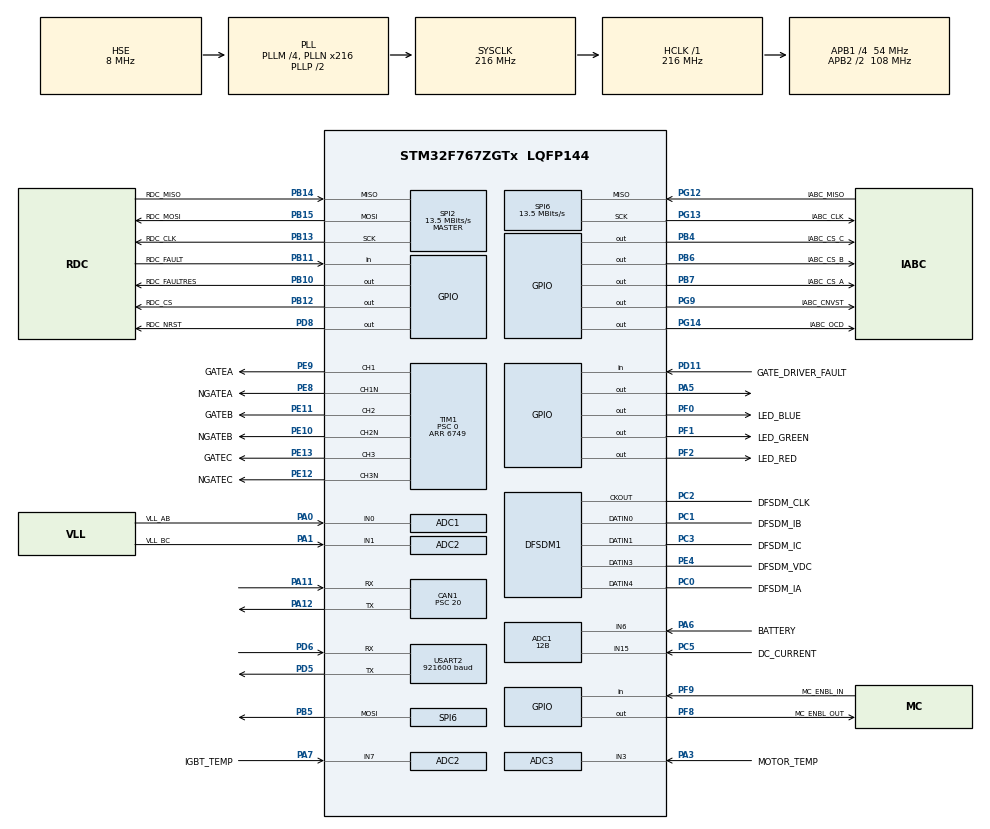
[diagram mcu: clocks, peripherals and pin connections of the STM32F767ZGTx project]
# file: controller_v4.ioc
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ADC1.Channel-5\#ChannelRegularConversion=ADC_CHANNEL_6
ADC1.ClockPrescaler=ADC_CLOCK_SYNC_PCLK_DIV6
ADC1.ContinuousConvMode=DISABLE
ADC1.DMAContinuousRequests=ENABLE
ADC1.EOCSelection=ADC_EOC_SINGLE_CONV
ADC1.InjNumberOfConversion=0
ADC1.NbrOfConversion=1
ADC1.NbrOfConversionFlag=1
ADC1.Rank-5\#ChannelRegularConversion=1
ADC1.Resolution=ADC_RESOLUTION_12B
ADC1.SamplingTime-5\#ChannelRegularConversion=ADC_SAMPLETIME_3CYCLES
ADC1.master=1
ADC2.Channel-3\#ChannelRegularConversion=ADC_CHANNEL_7
ADC2.Channel-4\#ChannelInjectedConversion=ADC_CHANNEL_15
ADC2.ClockPrescaler=ADC_CLOCK_SYNC_PCLK_DIV6
ADC2.EOCSelection=ADC_EOC_SEQ_CONV
ADC2.InjNumberOfConversion=1
ADC2.InjectedOffset-4\#ChannelInjectedConversion=0
ADC2.InjectedRank-4\#ChannelInjectedConversion=1
ADC2.NbrOfConversion=1
ADC2.NbrOfConversionFlag=1
ADC2.Rank-3\#ChannelRegularConversion=1
ADC2.SamplingTime-3\#ChannelRegularConversion=ADC_SAMPLETIME_3CYCLES
ADC2.SamplingTime-4\#ChannelInjectedConversion=ADC_SAMPLETIME_3CYCLES
ADC3.Channel-2\#ChannelRegularConversion=ADC_CHANNEL_3
ADC3.ClockPrescaler=ADC_CLOCK_SYNC_PCLK_DIV6
ADC3.NbrOfConversionFlag=1
ADC3.Rank-2\#ChannelRegularConversion=1
ADC3.SamplingTime-2\#ChannelRegularConversion=ADC_SAMPLETIME_3CYCLES
CAN1.BS1=CAN_BS1_4TQ
CAN1.BS2=CAN_BS2_2TQ
CAN1.CalculateTimeQuantum=370.3703703703704
CAN1.Prescaler=20
CAN1.SJW=CAN_SJW_1TQ
DFSDM1.Divider=10
DFSDM1.DmaMode_reg_FIL0=DISABLE
DFSDM1.DmaMode_reg_FIL1=DISABLE
DFSDM1.DmaMode_reg_FIL2=DISABLE
DFSDM1.DmaMode_reg_FIL3=DISABLE
DFSDM1.FastMode_reg_FIL0=DISABLE
DFSDM1.FastMode_reg_FIL1=DISABLE
DFSDM1.FastMode_reg_FIL2=DISABLE
DFSDM1.FastMode_reg_FIL3=DISABLE
DFSDM1.FilterOrder_CH3=DFSDM_CHANNEL_FASTSINC_ORDER
DFSDM1.Filter_injChannel0_FIL0=__NULL
DFSDM1.Filter_injChannel0_FIL1=__NULL
DFSDM1.Filter_injChannel1_FIL0=__NULL
DFSDM1.Filter_injChannel1_FIL2=__NULL
DFSDM1.Filter_injChannel3_FIL3=__NULL
DFSDM1.Filter_injChannel4_FIL0=__NULL
DFSDM1.Filter_injChannel4_FIL2=__NULL
DFSDM1.Filter_regChannel_FIL0=DFSDM_CHANNEL_4
DFSDM1.Filter_regChannel_FIL1=DFSDM_CHANNEL_0
DFSDM1.Filter_regChannel_FIL2=DFSDM_CHANNEL_1
DFSDM1.Filter_regChannel_FIL3=DFSDM_CHANNEL_3
DFSDM1.Filter_regContinuousMode_FIL0=DFSDM_CONTINUOUS_CONV_ON
DFSDM1.Filter_regContinuousMode_FIL1=DFSDM_CONTINUOUS_CONV_ON
DFSDM1.Filter_regContinuousMode_FIL2=DFSDM_CONTINUOUS_CONV_ON
DFSDM1.Filter_regContinuousMode_FIL3=DFSDM_CONTINUOUS_CONV_ON
DFSDM1.Fosr_FIL0=100
DFSDM1.Fosr_FIL1=100
DFSDM1.Fosr_FIL2=100
DFSDM1.Fosr_FIL3=100
DFSDM1.Offset_CH4=0
DFSDM1.RightBitShift_CH0=0
DFSDM1.RightBitShift_CH1=0
DFSDM1.RightBitShift_CH3=0
DFSDM1.RightBitShift_CH4=0
DFSDM1.Selection=DFSDM_CHANNEL_OUTPUT_CLOCK_SYSTEM
DFSDM1.SincOrder_FIL0=DFSDM_FILTER_SINC3_ORDER
DFSDM1.SincOrder_FIL1=DFSDM_FILTER_SINC3_ORDER
DFSDM1.SincOrder_FIL2=DFSDM_FILTER_SINC3_ORDER
DFSDM1.SincOrder_FIL3=DFSDM_FILTER_SINC3_ORDER
DFSDM1.Trigger_reg_FIL1=DFSDM_FILTER_SW_TRIGGER
DFSDM1.Trigger_reg_FIL2=DFSDM_FILTER_SW_TRIGGER
DFSDM1.Trigger_reg_FIL3=DFSDM_FILTER_SW_TRIGGER
Dma.ADC1.1.Direction=DMA_PERIPH_TO_MEMORY
Dma.ADC1.1.FIFOMode=DMA_FIFOMODE_DISABLE
Dma.ADC1.1.Instance=DMA2_Stream0
Dma.ADC1.1.MemDataAlignment=DMA_MDATAALIGN_WORD
Dma.ADC1.1.MemInc=DMA_MINC_ENABLE
Dma.ADC1.1.Mode=DMA_CIRCULAR
Dma.ADC1.1.PeriphDataAlignment=DMA_PDATAALIGN_WORD
Dma.ADC1.1.PeriphInc=DMA_PINC_DISABLE
Dma.ADC1.1.Priority=DMA_PRIORITY_LOW
Dma.ADC2.2.Direction=DMA_PERIPH_TO_MEMORY
Dma.ADC2.2.FIFOMode=DMA_FIFOMODE_DISABLE
Dma.ADC2.2.Instance=DMA2_Stream2
Dma.ADC2.2.MemDataAlignment=DMA_MDATAALIGN_WORD
Dma.ADC2.2.MemInc=DMA_MINC_ENABLE
Dma.ADC2.2.Mode=DMA_NORMAL
Dma.ADC2.2.PeriphDataAlignment=DMA_PDATAALIGN_WORD
Dma.ADC2.2.PeriphInc=DMA_PINC_DISABLE
Dma.ADC2.2.Priority=DMA_PRIORITY_LOW
Dma.Request0=USART2_TX
Dma.Request1=ADC1
Dma.Request2=ADC2
Dma.Request3=SPI2_RX
Dma.SPI2_RX.3.Direction=DMA_PERIPH_TO_MEMORY
Dma.SPI2_RX.3.FIFOMode=DMA_FIFOMODE_DISABLE
Dma.SPI2_RX.3.Instance=DMA1_Stream1
Dma.SPI2_RX.3.MemDataAlignment=DMA_MDATAALIGN_BYTE
Dma.SPI2_RX.3.MemInc=DMA_MINC_ENABLE
Dma.SPI2_RX.3.Mode=DMA_CIRCULAR
Dma.SPI2_RX.3.PeriphDataAlignment=DMA_PDATAALIGN_BYTE
Dma.SPI2_RX.3.PeriphInc=DMA_PINC_DISABLE
Dma.SPI2_RX.3.Priority=DMA_PRIORITY_LOW
Dma.USART2_TX.0.Direction=DMA_MEMORY_TO_PERIPH
Dma.USART2_TX.0.FIFOMode=DMA_FIFOMODE_DISABLE
Dma.USART2_TX.0.Instance=DMA1_Stream6
Dma.USART2_TX.0.MemDataAlignment=DMA_MDATAALIGN_BYTE
Dma.USART2_TX.0.MemInc=DMA_MINC_ENABLE
Dma.USART2_TX.0.Mode=DMA_NORMAL
Dma.USART2_TX.0.PeriphDataAlignment=DMA_PDATAALIGN_BYTE
Dma.USART2_TX.0.PeriphInc=DMA_PINC_DISABLE
Dma.USART2_TX.0.Priority=DMA_PRIORITY_LOW
IWDG.Prescaler=IWDG_PRESCALER_8
IWDG.Reload=4095
IWDG.Window=4095
Mcu.Family=STM32F7
Mcu.Name=STM32F767ZGTx
Mcu.Package=LQFP144
NVIC.CAN1_RX0_IRQn=true\:0\:0\:false\:false\:true\:true\:true
NVIC.DMA1_Stream1_IRQn=true\:0\:0\:false\:false\:true\:false\:true
NVIC.DMA1_Stream6_IRQn=true\:0\:0\:false\:false\:true\:false\:true
NVIC.DMA2_Stream0_IRQn=true\:0\:0\:false\:false\:true\:false\:true
NVIC.DMA2_Stream2_IRQn=true\:0\:0\:false\:false\:true\:false\:true
NVIC.PriorityGroup=NVIC_PRIORITYGROUP_4
NVIC.SPI2_IRQn=true\:0\:0\:false\:false\:true\:true\:true
NVIC.TIM1_CC_IRQn=true\:0\:0\:false\:false\:true\:true\:true
NVIC.TIM3_IRQn=true\:0\:0\:false\:false\:true\:true\:true
NVIC.USART2_IRQn=true\:0\:0\:false\:false\:true\:true\:true
PA0/WKUP.GPIO_Label=VLL_AB
PA0/WKUP.Signal=ADCx_IN0
PA1.GPIO_Label=VLL_BC
PA1.Signal=ADCx_IN1
PA11.GPIO_PuPd=GPIO_PULLUP
PA11.GPIO_Speed=GPIO_SPEED_FREQ_HIGH
PA11.Mode=Master
PA11.Signal=CAN1_RX
PA12.GPIO_Speed=GPIO_SPEED_FREQ_HIGH
PA12.Mode=Master
PA12.Signal=CAN1_TX
PA3.GPIO_Label=MOTOR_TEMP
PA3.Signal=ADCx_IN3
PA5.Signal=GPIO_Output
PA6.GPIO_Label=BATTERY
PA6.Signal=ADCx_IN6
PA7.GPIO_Label=IGBT_TEMP
PA7.Signal=ADCx_IN7
PB10.GPIO_Label=RDC_FAULTRES
PB10.Signal=GPIO_Output
PB11.GPIO_Label=RDC_FAULT
PB11.GPIO_PuPd=GPIO_PULLUP
PB11.Signal=GPIO_Input
PB12.GPIO_Label=RDC_CS
PB12.GPIO_PuPd=GPIO_NOPULL
PB12.GPIO_Speed=GPIO_SPEED_FREQ_HIGH
PB12.Signal=GPIO_Output
PB13.GPIO_Label=RDC_CLK
PB13.GPIO_PuPd=GPIO_PULLDOWN
PB13.Mode=Full_Duplex_Master
PB13.Signal=SPI2_SCK
PB14.GPIO_Label=RDC_MISO
PB14.GPIO_PuPd=GPIO_PULLDOWN
PB14.Mode=Full_Duplex_Master
PB14.Signal=SPI2_MISO
PB15.GPIO_Label=RDC_MOSI
PB15.GPIO_PuPd=GPIO_NOPULL
PB15.Mode=Full_Duplex_Master
PB15.Signal=SPI2_MOSI
PB4.GPIO_Label=IABC_CS_C
PB4.Signal=GPIO_Output
PB5.Mode=Full_Duplex_Master
PB5.Signal=SPI6_MOSI
PB6.GPIO_Label=IABC_CS_B
PB6.GPIO_ModeDefaultOutputPP=GPIO_MODE_OUTPUT_OD
PB6.Signal=GPIO_Output
PB7.GPIO_Label=IABC_CS_A
PB7.GPIO_ModeDefaultOutputPP=GPIO_MODE_OUTPUT_OD
PB7.Signal=GPIO_Output
PC0.GPIO_Label=DFSDM_IA
PC0.GPIO_Speed=GPIO_SPEED_FREQ_LOW
PC0.Signal=S_DATAIN4DFSDM1
PC1.GPIO_Label=DFSDM_IB
PC1.Signal=S_DATAIN0DFSDM1
PC2.GPIO_Label=DFSDM_CLK
PC2.Signal=S_CKOUTDFSDM1
PC3.GPIO_Label=DFSDM_IC
PC3.Signal=S_DATAIN1DFSDM1
PC5.GPIO_Label=DC_CURRENT
PC5.Signal=ADCx_IN15
PD11.GPIO_Label=GATE_DRIVER_FAULT
PD11.GPIO_PuPd=GPIO_PULLDOWN
PD11.Signal=GPIO_Input
PD5.Mode=Asynchronous
PD5.Signal=USART2_TX
PD6.Mode=Asynchronous
PD6.Signal=USART2_RX
PD8.GPIO_Label=RDC_NRST
PD8.GPIO_PuPd=GPIO_PULLUP
PD8.PinState=GPIO_PIN_RESET
PD8.Signal=GPIO_Output
PE10.GPIO_Label=NGATEB
PE10.GPIO_Speed=GPIO_SPEED_FREQ_HIGH
PE10.Mode=PWM Generation2 CH2 CH2N
PE10.Signal=TIM1_CH2N
PE11.GPIO_Label=GATEB
PE11.GPIO_Speed=GPIO_SPEED_FREQ_HIGH
PE11.Signal=S_TIM1_CH2
PE12.GPIO_Label=NGATEC
PE12.GPIO_Speed=GPIO_SPEED_FREQ_HIGH
PE12.Mode=PWM Generation3 CH3 CH3N
PE12.Signal=TIM1_CH3N
PE13.GPIO_Label=GATEC
PE13.GPIO_Speed=GPIO_SPEED_FREQ_HIGH
PE13.Signal=S_TIM1_CH3
PE4.GPIO_Label=DFSDM_VDC
PE4.Signal=S_DATAIN3DFSDM1
PE8.GPIO_Label=NGATEA
PE8.GPIO_PuPd=GPIO_NOPULL
PE8.GPIO_Speed=GPIO_SPEED_FREQ_HIGH
PE8.Mode=PWM Generation1 CH1 CH1N
PE8.Signal=TIM1_CH1N
PE9.GPIO_Label=GATEA
PE9.GPIO_Speed=GPIO_SPEED_FREQ_HIGH
PE9.Signal=S_TIM1_CH1
PF0.GPIO_Label=LED_BLUE
PF0.Signal=GPIO_Output
PF1.GPIO_Label=LED_GREEN
PF1.Signal=GPIO_Output
PF2.GPIO_Label=LED_RED
PF2.Signal=GPIO_Output
PF8.GPIO_Label=MC_ENBL_OUT
PF8.Signal=GPIO_Output
PF9.GPIO_Label=MC_ENBL_IN
PF9.GPIO_PuPd=GPIO_PULLDOWN
PF9.Signal=GPIO_Input
PG12.GPIO_Label=IABC_MISO
PG12.GPIO_PuPd=GPIO_PULLUP
PG12.Mode=Full_Duplex_Master
PG12.Signal=SPI6_MISO
PG13.GPIO_Label=IABC_CLK
PG13.GPIO_PuPd=GPIO_PULLDOWN
PG13.Mode=Full_Duplex_Master
PG13.Signal=SPI6_SCK
PG14.GPIO_Label=IABC_OCD
PG14.Signal=GPIO_Output
PG9.GPIO_Label=IABC_CNVST
PG9.Signal=GPIO_Output
PH0/OSC_IN.Mode=HSE-External-Oscillator
PH0/OSC_IN.Signal=RCC_OSC_IN
PH1/OSC_OUT.Mode=HSE-External-Oscillator
PH1/OSC_OUT.Signal=RCC_OSC_OUT
ProjectManager.HeapSize=0x200
ProjectManager.StackSize=0x400
ProjectManager.TargetToolchain=STM32CubeIDE
RCC.AHBFreq_Value=216000000
RCC.APB1CLKDivider=RCC_HCLK_DIV4
RCC.APB1Freq_Value=54000000
RCC.APB1TimFreq_Value=108000000
RCC.APB2CLKDivider=RCC_HCLK_DIV2
RCC.APB2Freq_Value=108000000
RCC.APB2TimFreq_Value=216000000
RCC.CortexFreq_Value=216000000
RCC.HCLKFreq_Value=216000000
RCC.HSE_VALUE=8000000
RCC.HSICalibrationValue=16
RCC.HSI_VALUE=16000000
RCC.LSE_VALUE=32768
RCC.PLLM=4
RCC.PLLN=216
RCC.PLLSourceVirtual=RCC_PLLSOURCE_HSE
RCC.RCC_TIM_PRescaler_Selection=RCC_TIMPRES_DESACTIVATED
RCC.SYSCLKFreq_VALUE=216000000
RCC.SYSCLKSource=RCC_SYSCLKSOURCE_PLLCLK
RCC.USBFreq_Value=216000000
RCC.VCOOutputFreq_Value=432000000
SH.ADCx_IN0.0=ADC1_IN0,IN0
SH.ADCx_IN0.1=ADC2_IN0
SH.ADCx_IN1.0=ADC2_IN1,IN1
SH.ADCx_IN1.1=ADC3_IN1
SH.ADCx_IN15.0=ADC1_IN15,IN15
SH.ADCx_IN15.1=ADC2_IN15,IN15
SH.ADCx_IN3.0=ADC1_IN3
SH.ADCx_IN3.1=ADC3_IN3,IN3
SH.ADCx_IN3.2=ADC2_IN3
SH.ADCx_IN6.0=ADC1_IN6,IN6
SH.ADCx_IN7.0=ADC1_IN7
SH.ADCx_IN7.1=ADC2_IN7,IN7
SH.S_CKOUTDFSDM1.0=DFSDM1_CKOUT,CKOUT
SH.S_CKOUTDFSDM1.1=DFSDM1_CKOUT,PDM_SPI_input_from_ch4_and_internal_clock
SH.S_CKOUTDFSDM1.2=DFSDM1_CKOUT,PDM_SPI_input_from_ch0_and_internal_clock
SH.S_CKOUTDFSDM1.3=DFSDM1_CKOUT,PDM_SPI_input_from_ch1_and_internal_clock
SH.S_CKOUTDFSDM1.4=DFSDM1_CKOUT,PDM_SPI_input_from_ch3_and_internal_clock
SH.S_DATAIN0DFSDM1.0=DFSDM1_DATIN0,PDM_SPI_input_from_ch0_and_internal_clock
SH.S_DATAIN1DFSDM1.0=DFSDM1_DATIN1,PDM_SPI_input_from_ch1_and_internal_clock
SH.S_DATAIN3DFSDM1.0=DFSDM1_DATIN3,PDM_SPI_input_from_ch3_and_internal_clock
SH.S_DATAIN4DFSDM1.0=DFSDM1_DATIN4,PDM_SPI_input_from_ch4_and_internal_clock
SH.S_TIM1_CH1.0=TIM1_CH1,PWM Generation1 CH1 CH1N
SH.S_TIM1_CH2.0=TIM1_CH2,PWM Generation2 CH2 CH2N
SH.S_TIM1_CH3.0=TIM1_CH3,PWM Generation3 CH3 CH3N
SPI2.BaudRatePrescaler=SPI_BAUDRATEPRESCALER_4
SPI2.CLKPhase=SPI_PHASE_2EDGE
SPI2.CLKPolarity=SPI_POLARITY_LOW
SPI2.CRCCalculation=SPI_CRCCALCULATION_DISABLE
SPI2.CalculateBaudRate=13.5 MBits/s
SPI2.DataSize=SPI_DATASIZE_8BIT
SPI2.Direction=SPI_DIRECTION_2LINES
SPI2.Mode=SPI_MODE_MASTER
SPI2.VirtualType=VM_MASTER
SPI6.BaudRatePrescaler=SPI_BAUDRATEPRESCALER_8
SPI6.CalculateBaudRate=13.5 MBits/s
SPI6.DataSize=SPI_DATASIZE_8BIT
SPI6.Direction=SPI_DIRECTION_2LINES
SPI6.Mode=SPI_MODE_MASTER
SPI6.VirtualType=VM_MASTER
TIM1.AutoReloadPreload=TIM_AUTORELOAD_PRELOAD_ENABLE
TIM1.Channel-PWM\ Generation1\ CH1\ CH1N=TIM_CHANNEL_1
TIM1.Channel-PWM\ Generation2\ CH2\ CH2N=TIM_CHANNEL_2
TIM1.Channel-PWM\ Generation3\ CH3\ CH3N=TIM_CHANNEL_3
TIM1.CounterMode=TIM_COUNTERMODE_CENTERALIGNED1
TIM1.DeadTime=172
TIM1.OCFastMode_PWM-PWM\ Generation3\ CH3\ CH3N=TIM_OCFAST_ENABLE
TIM1.OCIdleState_1=TIM_OCIDLESTATE_RESET
TIM1.OCNPolarity_2=TIM_OCNPOLARITY_HIGH
TIM1.Period=6749
TIM1.Prescaler=0
TIM1.TIM_MasterOutputTrigger=TIM_TRGO_RESET
TIM1.TIM_MasterOutputTrigger2=TIM_TRGO2_RESET
TIM3.AutoReloadPreload=TIM_AUTORELOAD_PRELOAD_ENABLE
TIM3.Period=6749
TIM3.Prescaler=0
TIM3.TIM_MasterOutputTrigger=TIM_TRGO_UPDATE
USART2.BaudRate=921600
USART2.VirtualMode-Asynchronous=VM_ASYNC
VP_IWDG_VS_IWDG.Mode=IWDG_Activate
VP_TIM1_VS_ClockSourceINT.Mode=Internal
VP_TIM3_VS_ClockSourceINT.Mode=Internal
board=custom

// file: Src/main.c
/* USER CODE BEGIN Header */
/*
 *  main.c
 *
 *  Created on: Mar 5, 2020
 *      Author: jolen
 *
 *  The motor controller (MC) software organizes itself in 4 states:
 *  	1. Initialization (no LED)
 *  	2. Idle (BLUE LED)
 *  	3. Enable (GREEN LED)
 *  	4. Fault (RED LED)
 *
 *  When the MC first turns on it is in the initialization state. After it finishes initializing
 *  the clocks, peripherals, timers, control system, etc. it changes to the idle state. The
 *  control system and PWM signals are off. If the user switches the enable switch from low to
 *  high the MC goes into the enable state. The PWM switches turn on and the control system 16kHz
 *  interrupt turns on. The motor controller can now spin the motor. If a fault is detected at
 *  any time, the MC goes into the fault state. To exit the fault state the user needs to power
 *  cycle the MC.
 *
 *  To identify what fault occurred, the user can either be in debug mode and look into
 *  mc_vars.fault_reg1 or open up the GUI on the visualization page, start live logging, and
 *  look under the fault tab.
 *
 *  The software was written using HAL libraries using the .ioc file in STM32CubeMX and
 *  STM32CubeIDE. When writing software in the main.c, stm32F7xx_it.c, and other stm32 made source
 *  files, make sure you write within the USER CODE BEGIN and USER CODE END. If you write outside
 *  of this and rebuild in the .ioc file, then the user code outside of the USER CODE BEGIN and
 *  USER CODE END will be erased.
 *
 *  If you do rebuilt the .ioc file, make sure you remove the MX_IWDG_Init() under "Initialize
 *  all configured peripherals" at the start of the main function. This is initialized after the
 *  control system init because the control system init takes a really long time and trips the IWDG.
 *  The IWDG init takes place after the control system init for that reason.
 */
/* USER CODE END Header */

#include "main.h"

/* USER CODE BEGIN Includes */
#include "modules/_data.h"
#include "modules/serial.h"
#include "modules/log.h"
#include "modules/can.h"
#include "modules/adc.h"
#include "control/control.h"
#include "control/torque.h"
#include "control/outer.h"
#include "sensors/thermistor.h"
#include "sensors/PGA411.h"
#include "sensors/HO250S.h"
#include "sensors/amc1106.h"
/* USER CODE END Includes */

ADC_HandleTypeDef hadc1;
ADC_HandleTypeDef hadc2;
ADC_HandleTypeDef hadc3;
DMA_HandleTypeDef hdma_adc1;
DMA_HandleTypeDef hdma_adc2;

CAN_HandleTypeDef hcan1;

DFSDM_Filter_HandleTypeDef hdfsdm1_filter0;
DFSDM_Filter_HandleTypeDef hdfsdm1_filter1;
DFSDM_Filter_HandleTypeDef hdfsdm1_filter2;
DFSDM_Filter_HandleTypeDef hdfsdm1_filter3;
DFSDM_Channel_HandleTypeDef hdfsdm1_channel0;
DFSDM_Channel_HandleTypeDef hdfsdm1_channel1;
DFSDM_Channel_HandleTypeDef hdfsdm1_channel3;
DFSDM_Channel_HandleTypeDef hdfsdm1_channel4;

IWDG_HandleTypeDef hiwdg;

SPI_HandleTypeDef hspi2;
SPI_HandleTypeDef hspi6;
DMA_HandleTypeDef hdma_spi2_rx;

TIM_HandleTypeDef htim1;
TIM_HandleTypeDef htim3;

UART_HandleTypeDef huart2;
DMA_HandleTypeDef hdma_usart2_tx;

void SystemClock_Config(void);
static void MX_GPIO_Init(void);
static void MX_DMA_Init(void);
static void MX_SPI2_Init(void);
static void MX_DFSDM1_Init(void);
static void MX_TIM1_Init(void);
static void MX_TIM3_Init(void);
static void MX_ADC2_Init(void);
static void MX_ADC1_Init(void);
static void MX_ADC3_Init(void);
static void MX_USART2_UART_Init(void);
static void MX_CAN1_Init(void);
static void MX_SPI6_Init(void);
static void MX_IWDG_Init(void);

int main(void)
{

  /* MCU Configuration--------------------------------------------------------*/

  /* Reset of all peripherals, Initializes the Flash interface and the Systick. */
  HAL_Init();

  /* Configure the system clock */
  SystemClock_Config();

  /* Initialize all configured peripherals */
  MX_GPIO_Init();
  MX_DMA_Init();
  MX_SPI2_Init();
  MX_DFSDM1_Init();
  MX_TIM1_Init();
  MX_TIM3_Init();
  MX_ADC2_Init();
  MX_ADC1_Init();
  MX_ADC3_Init();
  MX_USART2_UART_Init();
  MX_CAN1_Init();
  MX_SPI6_Init();
  /* USER CODE BEGIN 2 */
  can_init(&hcan1);
  control_init();
  MX_IWDG_Init();		// The MX_IWDG_Init() must be after the control init because
  	  	  	  	  	  	// the control init takes a long time.
  serial_init(&huart2);
  log_init();
  data_init(&hcan1, &hadc1);

  // Change LED to idle color (blue)
  HAL_GPIO_WritePin(GPIOF, LED_RED_Pin, LOW);
  HAL_GPIO_WritePin(GPIOF, LED_GREEN_Pin, LOW);
  HAL_GPIO_WritePin(GPIOF, LED_BLUE_Pin, HIGH);
  /* USER CODE END 2 */

  /* Infinite loop */
  /* USER CODE BEGIN WHILE */
  while (1) // 28us when disable, 66 to 120us when enabled
  {
	start_Vdc_conversion(); 	// start Vdc conversion
	check_enable_switch();		// update state
	update_lvbatt_voltage();	// check for brown outs
	if (!mc_vars.mc_enable) {	// if not enabled, push log
		log_push(&mc_vars);
	}
	can_poll();					// poll for VCU CAN
	update_temps();				// update IGBT and motor temp
	HAL_IWDG_Refresh(&hiwdg);	// refresh independed watchdog
	update_Vdc(); 		    	// update Vdc
    /* USER CODE END WHILE */

  }
}

void SystemClock_Config(void)
{
  RCC_OscInitTypeDef RCC_OscInitStruct = {0};
  RCC_ClkInitTypeDef RCC_ClkInitStruct = {0};
  RCC_PeriphCLKInitTypeDef PeriphClkInitStruct = {0};

  /** Configure the main internal regulator output voltage
  */
  __HAL_RCC_PWR_CLK_ENABLE();
  __HAL_PWR_VOLTAGESCALING_CONFIG(PWR_REGULATOR_VOLTAGE_SCALE1);
  /** Initializes the CPU, AHB and APB busses clocks
  */
  RCC_OscInitStruct.OscillatorType = RCC_OSCILLATORTYPE_LSI|RCC_OSCILLATORTYPE_HSE;
  RCC_OscInitStruct.HSEState = RCC_HSE_ON;
  RCC_OscInitStruct.LSIState = RCC_LSI_ON;
  RCC_OscInitStruct.PLL.PLLState = RCC_PLL_ON;
  RCC_OscInitStruct.PLL.PLLSource = RCC_PLLSOURCE_HSE;
  RCC_OscInitStruct.PLL.PLLM = 4;
  RCC_OscInitStruct.PLL.PLLN = 216;
  RCC_OscInitStruct.PLL.PLLP = RCC_PLLP_DIV2;
  RCC_OscInitStruct.PLL.PLLQ = 2;
  if (HAL_RCC_OscConfig(&RCC_OscInitStruct) != HAL_OK)
  {
    Error_Handler();
  }
  /** Activate the Over-Drive mode
  */
  if (HAL_PWREx_EnableOverDrive() != HAL_OK)
  {
    Error_Handler();
  }
  /** Initializes the CPU, AHB and APB busses clocks
  */
  RCC_ClkInitStruct.ClockType = RCC_CLOCKTYPE_HCLK|RCC_CLOCKTYPE_SYSCLK
                              |RCC_CLOCKTYPE_PCLK1|RCC_CLOCKTYPE_PCLK2;
  RCC_ClkInitStruct.SYSCLKSource = RCC_SYSCLKSOURCE_PLLCLK;
  RCC_ClkInitStruct.AHBCLKDivider = RCC_SYSCLK_DIV1;
  RCC_ClkInitStruct.APB1CLKDivider = RCC_HCLK_DIV4;
  RCC_ClkInitStruct.APB2CLKDivider = RCC_HCLK_DIV2;

  if (HAL_RCC_ClockConfig(&RCC_ClkInitStruct, FLASH_LATENCY_7) != HAL_OK)
  {
    Error_Handler();
  }
  PeriphClkInitStruct.PeriphClockSelection = RCC_PERIPHCLK_DFSDM1|RCC_PERIPHCLK_USART2;
  PeriphClkInitStruct.Usart2ClockSelection = RCC_USART2CLKSOURCE_PCLK1;
  PeriphClkInitStruct.Dfsdm1ClockSelection = RCC_DFSDM1CLKSOURCE_PCLK;
  if (HAL_RCCEx_PeriphCLKConfig(&PeriphClkInitStruct) != HAL_OK)
  {
    Error_Handler();
  }
}

static void MX_ADC1_Init(void)
{

  ADC_ChannelConfTypeDef sConfig = {0};

  /** Configure the global features of the ADC (Clock, Resolution, Data Alignment and number of conversion)
  */
  hadc1.Instance = ADC1;
  hadc1.Init.ClockPrescaler = ADC_CLOCK_SYNC_PCLK_DIV6;
  hadc1.Init.Resolution = ADC_RESOLUTION_12B;
  hadc1.Init.ScanConvMode = ADC_SCAN_DISABLE;
  hadc1.Init.ContinuousConvMode = DISABLE;
  hadc1.Init.DiscontinuousConvMode = DISABLE;
  hadc1.Init.ExternalTrigConvEdge = ADC_EXTERNALTRIGCONVEDGE_NONE;
  hadc1.Init.ExternalTrigConv = ADC_SOFTWARE_START;
  hadc1.Init.DataAlign = ADC_DATAALIGN_RIGHT;
  hadc1.Init.NbrOfConversion = 1;
  hadc1.Init.DMAContinuousRequests = ENABLE;
  hadc1.Init.EOCSelection = ADC_EOC_SINGLE_CONV;
  if (HAL_ADC_Init(&hadc1) != HAL_OK)
  {
    Error_Handler();
  }
  /** Configure for the selected ADC regular channel its corresponding rank in the sequencer and its sample time.
  */
  sConfig.Channel = ADC_CHANNEL_6;
  sConfig.Rank = ADC_REGULAR_RANK_1;
  sConfig.SamplingTime = ADC_SAMPLETIME_3CYCLES;
  if (HAL_ADC_ConfigChannel(&hadc1, &sConfig) != HAL_OK)
  {
    Error_Handler();
  }

}

static void MX_ADC2_Init(void)
{

  ADC_ChannelConfTypeDef sConfig = {0};
  ADC_InjectionConfTypeDef sConfigInjected = {0};

  /** Configure the global features of the ADC (Clock, Resolution, Data Alignment and number of conversion)
  */
  hadc2.Instance = ADC2;
  hadc2.Init.ClockPrescaler = ADC_CLOCK_SYNC_PCLK_DIV6;
  hadc2.Init.Resolution = ADC_RESOLUTION_12B;
  hadc2.Init.ScanConvMode = ADC_SCAN_DISABLE;
  hadc2.Init.ContinuousConvMode = DISABLE;
  hadc2.Init.DiscontinuousConvMode = DISABLE;
  hadc2.Init.ExternalTrigConvEdge = ADC_EXTERNALTRIGCONVEDGE_NONE;
  hadc2.Init.ExternalTrigConv = ADC_SOFTWARE_START;
  hadc2.Init.DataAlign = ADC_DATAALIGN_RIGHT;
  hadc2.Init.NbrOfConversion = 1;
  hadc2.Init.DMAContinuousRequests = DISABLE;
  hadc2.Init.EOCSelection = ADC_EOC_SEQ_CONV;
  if (HAL_ADC_Init(&hadc2) != HAL_OK)
  {
    Error_Handler();
  }
  /** Configure for the selected ADC regular channel its corresponding rank in the sequencer and its sample time.
  */
  sConfig.Channel = ADC_CHANNEL_7;
  sConfig.Rank = ADC_REGULAR_RANK_1;
  sConfig.SamplingTime = ADC_SAMPLETIME_3CYCLES;
  if (HAL_ADC_ConfigChannel(&hadc2, &sConfig) != HAL_OK)
  {
    Error_Handler();
  }
  /** Configures for the selected ADC injected channel its corresponding rank in the sequencer and its sample time
  */
  sConfigInjected.InjectedChannel = ADC_CHANNEL_15;
  sConfigInjected.InjectedRank = ADC_INJECTED_RANK_1;
  sConfigInjected.InjectedNbrOfConversion = 1;
  sConfigInjected.InjectedSamplingTime = ADC_SAMPLETIME_3CYCLES;
  sConfigInjected.ExternalTrigInjecConvEdge = ADC_EXTERNALTRIGINJECCONVEDGE_NONE;
  sConfigInjected.ExternalTrigInjecConv = ADC_INJECTED_SOFTWARE_START;
  sConfigInjected.AutoInjectedConv = DISABLE;
  sConfigInjected.InjectedDiscontinuousConvMode = DISABLE;
  sConfigInjected.InjectedOffset = 0;
  if (HAL_ADCEx_InjectedConfigChannel(&hadc2, &sConfigInjected) != HAL_OK)
  {
    Error_Handler();
  }

}

static void MX_ADC3_Init(void)
{

  ADC_ChannelConfTypeDef sConfig = {0};

  /** Configure the global features of the ADC (Clock, Resolution, Data Alignment and number of conversion)
  */
  hadc3.Instance = ADC3;
  hadc3.Init.ClockPrescaler = ADC_CLOCK_SYNC_PCLK_DIV6;
  hadc3.Init.Resolution = ADC_RESOLUTION_12B;
  hadc3.Init.ScanConvMode = ADC_SCAN_DISABLE;
  hadc3.Init.ContinuousConvMode = DISABLE;
  hadc3.Init.DiscontinuousConvMode = DISABLE;
  hadc3.Init.ExternalTrigConvEdge = ADC_EXTERNALTRIGCONVEDGE_NONE;
  hadc3.Init.ExternalTrigConv = ADC_SOFTWARE_START;
  hadc3.Init.DataAlign = ADC_DATAALIGN_RIGHT;
  hadc3.Init.NbrOfConversion = 1;
  hadc3.Init.DMAContinuousRequests = DISABLE;
  hadc3.Init.EOCSelection = ADC_EOC_SINGLE_CONV;
  if (HAL_ADC_Init(&hadc3) != HAL_OK)
  {
    Error_Handler();
  }
  /** Configure for the selected ADC regular channel its corresponding rank in the sequencer and its sample time.
  */
  sConfig.Channel = ADC_CHANNEL_3;
  sConfig.Rank = ADC_REGULAR_RANK_1;
  sConfig.SamplingTime = ADC_SAMPLETIME_3CYCLES;
  if (HAL_ADC_ConfigChannel(&hadc3, &sConfig) != HAL_OK)
  {
    Error_Handler();
  }

}

static void MX_CAN1_Init(void)
{

  hcan1.Instance = CAN1;
  hcan1.Init.Prescaler = 20;
  hcan1.Init.Mode = CAN_MODE_NORMAL;
  hcan1.Init.SyncJumpWidth = CAN_SJW_1TQ;
  hcan1.Init.TimeSeg1 = CAN_BS1_4TQ;
  hcan1.Init.TimeSeg2 = CAN_BS2_2TQ;
  hcan1.Init.TimeTriggeredMode = DISABLE;
  hcan1.Init.AutoBusOff = DISABLE;
  hcan1.Init.AutoWakeUp = DISABLE;
  hcan1.Init.AutoRetransmission = DISABLE;
  hcan1.Init.ReceiveFifoLocked = DISABLE;
  hcan1.Init.TransmitFifoPriority = DISABLE;
  if (HAL_CAN_Init(&hcan1) != HAL_OK)
  {
    Error_Handler();
  }

}

static void MX_DFSDM1_Init(void)
{

  hdfsdm1_filter0.Instance = DFSDM1_Filter0;
  hdfsdm1_filter0.Init.RegularParam.Trigger = DFSDM_FILTER_SW_TRIGGER;
  hdfsdm1_filter0.Init.RegularParam.FastMode = DISABLE;
  hdfsdm1_filter0.Init.RegularParam.DmaMode = DISABLE;
  hdfsdm1_filter0.Init.FilterParam.SincOrder = DFSDM_FILTER_SINC3_ORDER;
  hdfsdm1_filter0.Init.FilterParam.Oversampling = 100;
  hdfsdm1_filter0.Init.FilterParam.IntOversampling = 1;
  HAL_DFSDM_FilterInit(&hdfsdm1_filter0);
  hdfsdm1_filter1.Instance = DFSDM1_Filter1;
  hdfsdm1_filter1.Init.RegularParam.Trigger = DFSDM_FILTER_SW_TRIGGER;
  hdfsdm1_filter1.Init.RegularParam.FastMode = DISABLE;
  hdfsdm1_filter1.Init.RegularParam.DmaMode = DISABLE;
  hdfsdm1_filter1.Init.FilterParam.SincOrder = DFSDM_FILTER_SINC3_ORDER;
  hdfsdm1_filter1.Init.FilterParam.Oversampling = 100;
  hdfsdm1_filter1.Init.FilterParam.IntOversampling = 1;
  HAL_DFSDM_FilterInit(&hdfsdm1_filter1);
  hdfsdm1_filter2.Instance = DFSDM1_Filter2;
  hdfsdm1_filter2.Init.RegularParam.Trigger = DFSDM_FILTER_SW_TRIGGER;
  hdfsdm1_filter2.Init.RegularParam.FastMode = DISABLE;
  hdfsdm1_filter2.Init.RegularParam.DmaMode = DISABLE;
  hdfsdm1_filter2.Init.FilterParam.SincOrder = DFSDM_FILTER_SINC3_ORDER;
  hdfsdm1_filter2.Init.FilterParam.Oversampling = 100;
  hdfsdm1_filter2.Init.FilterParam.IntOversampling = 1;
  HAL_DFSDM_FilterInit(&hdfsdm1_filter2);
  hdfsdm1_filter3.Instance = DFSDM1_Filter3;
  hdfsdm1_filter3.Init.RegularParam.Trigger = DFSDM_FILTER_SW_TRIGGER;
  hdfsdm1_filter3.Init.RegularParam.FastMode = DISABLE;
  hdfsdm1_filter3.Init.RegularParam.DmaMode = DISABLE;
  hdfsdm1_filter3.Init.FilterParam.SincOrder = DFSDM_FILTER_SINC3_ORDER;
  hdfsdm1_filter3.Init.FilterParam.Oversampling = 100;
  hdfsdm1_filter3.Init.FilterParam.IntOversampling = 1;
  HAL_DFSDM_FilterInit(&hdfsdm1_filter3);
  hdfsdm1_channel0.Instance = DFSDM1_Channel0;
  hdfsdm1_channel0.Init.OutputClock.Activation = ENABLE;
  hdfsdm1_channel0.Init.OutputClock.Selection = DFSDM_CHANNEL_OUTPUT_CLOCK_SYSTEM;
  hdfsdm1_channel0.Init.OutputClock.Divider = 10;
  hdfsdm1_channel0.Init.Input.Multiplexer = DFSDM_CHANNEL_EXTERNAL_INPUTS;
  hdfsdm1_channel0.Init.Input.DataPacking = DFSDM_CHANNEL_STANDARD_MODE;
  hdfsdm1_channel0.Init.Input.Pins = DFSDM_CHANNEL_SAME_CHANNEL_PINS;
  hdfsdm1_channel0.Init.SerialInterface.Type = DFSDM_CHANNEL_SPI_RISING;
  hdfsdm1_channel0.Init.SerialInterface.SpiClock = DFSDM_CHANNEL_SPI_CLOCK_INTERNAL;
  hdfsdm1_channel0.Init.Awd.FilterOrder = DFSDM_CHANNEL_FASTSINC_ORDER;
  hdfsdm1_channel0.Init.Awd.Oversampling = 1;
  hdfsdm1_channel0.Init.Offset = 0;
  hdfsdm1_channel0.Init.RightBitShift = 0;
  if (HAL_DFSDM_ChannelInit(&hdfsdm1_channel0) != HAL_OK)
  {
    Error_Handler();
  }
  hdfsdm1_channel1.Instance = DFSDM1_Channel1;
  hdfsdm1_channel1.Init.OutputClock.Activation = ENABLE;
  hdfsdm1_channel1.Init.OutputClock.Selection = DFSDM_CHANNEL_OUTPUT_CLOCK_SYSTEM;
  hdfsdm1_channel1.Init.OutputClock.Divider = 10;
  hdfsdm1_channel1.Init.Input.Multiplexer = DFSDM_CHANNEL_EXTERNAL_INPUTS;
  hdfsdm1_channel1.Init.Input.DataPacking = DFSDM_CHANNEL_STANDARD_MODE;
  hdfsdm1_channel1.Init.Input.Pins = DFSDM_CHANNEL_SAME_CHANNEL_PINS;
  hdfsdm1_channel1.Init.SerialInterface.Type = DFSDM_CHANNEL_SPI_RISING;
  hdfsdm1_channel1.Init.SerialInterface.SpiClock = DFSDM_CHANNEL_SPI_CLOCK_INTERNAL;
  hdfsdm1_channel1.Init.Awd.FilterOrder = DFSDM_CHANNEL_FASTSINC_ORDER;
  hdfsdm1_channel1.Init.Awd.Oversampling = 1;
  hdfsdm1_channel1.Init.Offset = 0;
  hdfsdm1_channel1.Init.RightBitShift = 0;
  if (HAL_DFSDM_ChannelInit(&hdfsdm1_channel1) != HAL_OK)
  {
    Error_Handler();
  }
  hdfsdm1_channel3.Instance = DFSDM1_Channel3;
  hdfsdm1_channel3.Init.OutputClock.Activation = ENABLE;
  hdfsdm1_channel3.Init.OutputClock.Selection = DFSDM_CHANNEL_OUTPUT_CLOCK_SYSTEM;
  hdfsdm1_channel3.Init.OutputClock.Divider = 10;
  hdfsdm1_channel3.Init.Input.Multiplexer = DFSDM_CHANNEL_EXTERNAL_INPUTS;
  hdfsdm1_channel3.Init.Input.DataPacking = DFSDM_CHANNEL_STANDARD_MODE;
  hdfsdm1_channel3.Init.Input.Pins = DFSDM_CHANNEL_SAME_CHANNEL_PINS;
  hdfsdm1_channel3.Init.SerialInterface.Type = DFSDM_CHANNEL_SPI_RISING;
  hdfsdm1_channel3.Init.SerialInterface.SpiClock = DFSDM_CHANNEL_SPI_CLOCK_INTERNAL;
  hdfsdm1_channel3.Init.Awd.FilterOrder = DFSDM_CHANNEL_FASTSINC_ORDER;
  hdfsdm1_channel3.Init.Awd.Oversampling = 1;
  hdfsdm1_channel3.Init.Offset = 0;
  hdfsdm1_channel3.Init.RightBitShift = 0;
  if (HAL_DFSDM_ChannelInit(&hdfsdm1_channel3) != HAL_OK)
  {
    Error_Handler();
  }
  hdfsdm1_channel4.Instance = DFSDM1_Channel4;
  hdfsdm1_channel4.Init.OutputClock.Activation = ENABLE;
  hdfsdm1_channel4.Init.OutputClock.Selection = DFSDM_CHANNEL_OUTPUT_CLOCK_SYSTEM;
  hdfsdm1_channel4.Init.OutputClock.Divider = 10;
  hdfsdm1_channel4.Init.Input.Multiplexer = DFSDM_CHANNEL_EXTERNAL_INPUTS;
  hdfsdm1_channel4.Init.Input.DataPacking = DFSDM_CHANNEL_STANDARD_MODE;
  hdfsdm1_channel4.Init.Input.Pins = DFSDM_CHANNEL_SAME_CHANNEL_PINS;
  hdfsdm1_channel4.Init.SerialInterface.Type = DFSDM_CHANNEL_SPI_RISING;
  hdfsdm1_channel4.Init.SerialInterface.SpiClock = DFSDM_CHANNEL_SPI_CLOCK_INTERNAL;
  hdfsdm1_channel4.Init.Awd.FilterOrder = DFSDM_CHANNEL_FASTSINC_ORDER;
  hdfsdm1_channel4.Init.Awd.Oversampling = 1;
  hdfsdm1_channel4.Init.Offset = 0;
  hdfsdm1_channel4.Init.RightBitShift = 0;
  if (HAL_DFSDM_ChannelInit(&hdfsdm1_channel4) != HAL_OK)
  {
    Error_Handler();
  }
  HAL_DFSDM_FilterConfigRegChannel(&hdfsdm1_filter0, DFSDM_CHANNEL_4, DFSDM_CONTINUOUS_CONV_ON);
  HAL_DFSDM_FilterConfigRegChannel(&hdfsdm1_filter1, DFSDM_CHANNEL_0, DFSDM_CONTINUOUS_CONV_ON);
  HAL_DFSDM_FilterConfigRegChannel(&hdfsdm1_filter2, DFSDM_CHANNEL_1, DFSDM_CONTINUOUS_CONV_ON);
  HAL_DFSDM_FilterConfigRegChannel(&hdfsdm1_filter3, DFSDM_CHANNEL_3, DFSDM_CONTINUOUS_CONV_ON);

}

static void MX_IWDG_Init(void)
{

  hiwdg.Instance = IWDG;
  hiwdg.Init.Prescaler = IWDG_PRESCALER_8;
  hiwdg.Init.Window = 4095;
  hiwdg.Init.Reload = 4095;
  if (HAL_IWDG_Init(&hiwdg) != HAL_OK)
  {
    Error_Handler();
  }

}

static void MX_SPI2_Init(void)
{

  /* SPI2 parameter configuration*/
  hspi2.Instance = SPI2;
  hspi2.Init.Mode = SPI_MODE_MASTER;
  hspi2.Init.Direction = SPI_DIRECTION_2LINES;
  hspi2.Init.DataSize = SPI_DATASIZE_8BIT;
  hspi2.Init.CLKPolarity = SPI_POLARITY_LOW;
  hspi2.Init.CLKPhase = SPI_PHASE_2EDGE;
  hspi2.Init.NSS = SPI_NSS_SOFT;
  hspi2.Init.BaudRatePrescaler = SPI_BAUDRATEPRESCALER_4;
  hspi2.Init.FirstBit = SPI_FIRSTBIT_MSB;
  hspi2.Init.TIMode = SPI_TIMODE_DISABLE;
  hspi2.Init.CRCCalculation = SPI_CRCCALCULATION_DISABLE;
  hspi2.Init.CRCPolynomial = 7;
  hspi2.Init.CRCLength = SPI_CRC_LENGTH_DATASIZE;
  hspi2.Init.NSSPMode = SPI_NSS_PULSE_DISABLE;
  if (HAL_SPI_Init(&hspi2) != HAL_OK)
  {
    Error_Handler();
  }

}

static void MX_SPI6_Init(void)
{

  /* SPI6 parameter configuration*/
  hspi6.Instance = SPI6;
  hspi6.Init.Mode = SPI_MODE_MASTER;
  hspi6.Init.Direction = SPI_DIRECTION_2LINES;
  hspi6.Init.DataSize = SPI_DATASIZE_8BIT;
  hspi6.Init.CLKPolarity = SPI_POLARITY_LOW;
  hspi6.Init.CLKPhase = SPI_PHASE_1EDGE;
  hspi6.Init.NSS = SPI_NSS_SOFT;
  hspi6.Init.BaudRatePrescaler = SPI_BAUDRATEPRESCALER_8;
  hspi6.Init.FirstBit = SPI_FIRSTBIT_MSB;
  hspi6.Init.TIMode = SPI_TIMODE_DISABLE;
  hspi6.Init.CRCCalculation = SPI_CRCCALCULATION_DISABLE;
  hspi6.Init.CRCPolynomial = 7;
  hspi6.Init.CRCLength = SPI_CRC_LENGTH_DATASIZE;
  hspi6.Init.NSSPMode = SPI_NSS_PULSE_ENABLE;
  if (HAL_SPI_Init(&hspi6) != HAL_OK)
  {
    Error_Handler();
  }

}

static void MX_TIM1_Init(void)
{

  TIM_ClockConfigTypeDef sClockSourceConfig = {0};
  TIM_MasterConfigTypeDef sMasterConfig = {0};
  TIM_OC_InitTypeDef sConfigOC = {0};
  TIM_BreakDeadTimeConfigTypeDef sBreakDeadTimeConfig = {0};

  htim1.Instance = TIM1;
  htim1.Init.Prescaler = 0;
  htim1.Init.CounterMode = TIM_COUNTERMODE_CENTERALIGNED1;
  htim1.Init.Period = 6749;
  htim1.Init.ClockDivision = TIM_CLOCKDIVISION_DIV1;
  htim1.Init.RepetitionCounter = 0;
  htim1.Init.AutoReloadPreload = TIM_AUTORELOAD_PRELOAD_ENABLE;
  if (HAL_TIM_Base_Init(&htim1) != HAL_OK)
  {
    Error_Handler();
  }
  sClockSourceConfig.ClockSource = TIM_CLOCKSOURCE_INTERNAL;
  if (HAL_TIM_ConfigClockSource(&htim1, &sClockSourceConfig) != HAL_OK)
  {
    Error_Handler();
  }
  if (HAL_TIM_PWM_Init(&htim1) != HAL_OK)
  {
    Error_Handler();
  }
  sMasterConfig.MasterOutputTrigger = TIM_TRGO_RESET;
  sMasterConfig.MasterOutputTrigger2 = TIM_TRGO2_RESET;
  sMasterConfig.MasterSlaveMode = TIM_MASTERSLAVEMODE_DISABLE;
  if (HAL_TIMEx_MasterConfigSynchronization(&htim1, &sMasterConfig) != HAL_OK)
  {
    Error_Handler();
  }
  sConfigOC.OCMode = TIM_OCMODE_PWM1;
  sConfigOC.Pulse = 0;
  sConfigOC.OCPolarity = TIM_OCPOLARITY_HIGH;
  sConfigOC.OCNPolarity = TIM_OCNPOLARITY_HIGH;
  sConfigOC.OCFastMode = TIM_OCFAST_DISABLE;
  sConfigOC.OCIdleState = TIM_OCIDLESTATE_RESET;
  sConfigOC.OCNIdleState = TIM_OCNIDLESTATE_RESET;
  if (HAL_TIM_PWM_ConfigChannel(&htim1, &sConfigOC, TIM_CHANNEL_1) != HAL_OK)
  {
    Error_Handler();
  }
  if (HAL_TIM_PWM_ConfigChannel(&htim1, &sConfigOC, TIM_CHANNEL_2) != HAL_OK)
  {
    Error_Handler();
  }
  sConfigOC.OCFastMode = TIM_OCFAST_ENABLE;
  if (HAL_TIM_PWM_ConfigChannel(&htim1, &sConfigOC, TIM_CHANNEL_3) != HAL_OK)
  {
    Error_Handler();
  }
  sBreakDeadTimeConfig.OffStateRunMode = TIM_OSSR_DISABLE;
  sBreakDeadTimeConfig.OffStateIDLEMode = TIM_OSSI_DISABLE;
  sBreakDeadTimeConfig.LockLevel = TIM_LOCKLEVEL_OFF;
  sBreakDeadTimeConfig.DeadTime = 172;
  sBreakDeadTimeConfig.BreakState = TIM_BREAK_DISABLE;
  sBreakDeadTimeConfig.BreakPolarity = TIM_BREAKPOLARITY_HIGH;
  sBreakDeadTimeConfig.BreakFilter = 0;
  sBreakDeadTimeConfig.Break2State = TIM_BREAK2_DISABLE;
  sBreakDeadTimeConfig.Break2Polarity = TIM_BREAK2POLARITY_HIGH;
  sBreakDeadTimeConfig.Break2Filter = 0;
  sBreakDeadTimeConfig.AutomaticOutput = TIM_AUTOMATICOUTPUT_DISABLE;
  if (HAL_TIMEx_ConfigBreakDeadTime(&htim1, &sBreakDeadTimeConfig) != HAL_OK)
  {
    Error_Handler();
  }
  HAL_TIM_MspPostInit(&htim1);

}

static void MX_TIM3_Init(void)
{

  TIM_ClockConfigTypeDef sClockSourceConfig = {0};
  TIM_MasterConfigTypeDef sMasterConfig = {0};

  htim3.Instance = TIM3;
  htim3.Init.Prescaler = 0;
  htim3.Init.CounterMode = TIM_COUNTERMODE_UP;
  htim3.Init.Period = 6749;
  htim3.Init.ClockDivision = TIM_CLOCKDIVISION_DIV1;
  htim3.Init.AutoReloadPreload = TIM_AUTORELOAD_PRELOAD_ENABLE;
  if (HAL_TIM_Base_Init(&htim3) != HAL_OK)
  {
    Error_Handler();
  }
  sClockSourceConfig.ClockSource = TIM_CLOCKSOURCE_INTERNAL;
  if (HAL_TIM_ConfigClockSource(&htim3, &sClockSourceConfig) != HAL_OK)
  {
    Error_Handler();
  }
  sMasterConfig.MasterOutputTrigger = TIM_TRGO_UPDATE;
  sMasterConfig.MasterSlaveMode = TIM_MASTERSLAVEMODE_DISABLE;
  if (HAL_TIMEx_MasterConfigSynchronization(&htim3, &sMasterConfig) != HAL_OK)
  {
    Error_Handler();
  }

}

static void MX_USART2_UART_Init(void)
{

  huart2.Instance = USART2;
  huart2.Init.BaudRate = 921600;
  huart2.Init.WordLength = UART_WORDLENGTH_8B;
  huart2.Init.StopBits = UART_STOPBITS_1;
  huart2.Init.Parity = UART_PARITY_NONE;
  huart2.Init.Mode = UART_MODE_TX_RX;
  huart2.Init.HwFlowCtl = UART_HWCONTROL_NONE;
  huart2.Init.OverSampling = UART_OVERSAMPLING_16;
  huart2.Init.OneBitSampling = UART_ONE_BIT_SAMPLE_DISABLE;
  huart2.AdvancedInit.AdvFeatureInit = UART_ADVFEATURE_NO_INIT;
  if (HAL_UART_Init(&huart2) != HAL_OK)
  {
    Error_Handler();
  }

}

static void MX_DMA_Init(void)
{

  /* DMA controller clock enable */
  __HAL_RCC_DMA1_CLK_ENABLE();
  __HAL_RCC_DMA2_CLK_ENABLE();

  /* DMA interrupt init */
  /* DMA1_Stream1_IRQn interrupt configuration */
  HAL_NVIC_SetPriority(DMA1_Stream1_IRQn, 0, 0);
  HAL_NVIC_EnableIRQ(DMA1_Stream1_IRQn);
  /* DMA1_Stream6_IRQn interrupt configuration */
  HAL_NVIC_SetPriority(DMA1_Stream6_IRQn, 0, 0);
  HAL_NVIC_EnableIRQ(DMA1_Stream6_IRQn);
  /* DMA2_Stream0_IRQn interrupt configuration */
  HAL_NVIC_SetPriority(DMA2_Stream0_IRQn, 0, 0);
  HAL_NVIC_EnableIRQ(DMA2_Stream0_IRQn);
  /* DMA2_Stream2_IRQn interrupt configuration */
  HAL_NVIC_SetPriority(DMA2_Stream2_IRQn, 0, 0);
  HAL_NVIC_EnableIRQ(DMA2_Stream2_IRQn);

}

static void MX_GPIO_Init(void)
{
  GPIO_InitTypeDef GPIO_InitStruct = {0};

  /* GPIO Ports Clock Enable */
  __HAL_RCC_GPIOE_CLK_ENABLE();
  __HAL_RCC_GPIOF_CLK_ENABLE();
  __HAL_RCC_GPIOH_CLK_ENABLE();
  __HAL_RCC_GPIOC_CLK_ENABLE();
  __HAL_RCC_GPIOA_CLK_ENABLE();
  __HAL_RCC_GPIOB_CLK_ENABLE();
  __HAL_RCC_GPIOD_CLK_ENABLE();
  __HAL_RCC_GPIOG_CLK_ENABLE();

  /*Configure GPIO pin Output Level */
  HAL_GPIO_WritePin(GPIOF, LED_BLUE_Pin|LED_GREEN_Pin|LED_RED_Pin|MC_ENBL_OUT_Pin, GPIO_PIN_RESET);

  /*Configure GPIO pin Output Level */
  HAL_GPIO_WritePin(GPIOA, GPIO_PIN_5, GPIO_PIN_RESET);

  /*Configure GPIO pin Output Level */
  HAL_GPIO_WritePin(GPIOB, RDC_FAULTRES_Pin|RDC_CS_Pin|IABC_CS_C_Pin|IABC_CS_B_Pin
                          |IABC_CS_A_Pin, GPIO_PIN_RESET);

  /*Configure GPIO pin Output Level */
  HAL_GPIO_WritePin(RDC_NRST_GPIO_Port, RDC_NRST_Pin, GPIO_PIN_RESET);

  /*Configure GPIO pin Output Level */
  HAL_GPIO_WritePin(GPIOG, IABC_CNVST_Pin|IABC_OCD_Pin, GPIO_PIN_RESET);

  /*Configure GPIO pins : LED_BLUE_Pin LED_GREEN_Pin LED_RED_Pin MC_ENBL_OUT_Pin */
  GPIO_InitStruct.Pin = LED_BLUE_Pin|LED_GREEN_Pin|LED_RED_Pin|MC_ENBL_OUT_Pin;
  GPIO_InitStruct.Mode = GPIO_MODE_OUTPUT_PP;
  GPIO_InitStruct.Pull = GPIO_NOPULL;
  GPIO_InitStruct.Speed = GPIO_SPEED_FREQ_LOW;
  HAL_GPIO_Init(GPIOF, &GPIO_InitStruct);

  /*Configure GPIO pin : MC_ENBL_IN_Pin */
  GPIO_InitStruct.Pin = MC_ENBL_IN_Pin;
  GPIO_InitStruct.Mode = GPIO_MODE_INPUT;
  GPIO_InitStruct.Pull = GPIO_PULLDOWN;
  HAL_GPIO_Init(MC_ENBL_IN_GPIO_Port, &GPIO_InitStruct);

  /*Configure GPIO pin : PA5 */
  GPIO_InitStruct.Pin = GPIO_PIN_5;
  GPIO_InitStruct.Mode = GPIO_MODE_OUTPUT_PP;
  GPIO_InitStruct.Pull = GPIO_NOPULL;
  GPIO_InitStruct.Speed = GPIO_SPEED_FREQ_LOW;
  HAL_GPIO_Init(GPIOA, &GPIO_InitStruct);

  /*Configure GPIO pins : RDC_FAULTRES_Pin IABC_CS_C_Pin */
  GPIO_InitStruct.Pin = RDC_FAULTRES_Pin|IABC_CS_C_Pin;
  GPIO_InitStruct.Mode = GPIO_MODE_OUTPUT_PP;
  GPIO_InitStruct.Pull = GPIO_NOPULL;
  GPIO_InitStruct.Speed = GPIO_SPEED_FREQ_LOW;
  HAL_GPIO_Init(GPIOB, &GPIO_InitStruct);

  /*Configure GPIO pin : RDC_FAULT_Pin */
  GPIO_InitStruct.Pin = RDC_FAULT_Pin;
  GPIO_InitStruct.Mode = GPIO_MODE_INPUT;
  GPIO_InitStruct.Pull = GPIO_PULLUP;
  HAL_GPIO_Init(RDC_FAULT_GPIO_Port, &GPIO_InitStruct);

  /*Configure GPIO pin : RDC_CS_Pin */
  GPIO_InitStruct.Pin = RDC_CS_Pin;
  GPIO_InitStruct.Mode = GPIO_MODE_OUTPUT_PP;
  GPIO_InitStruct.Pull = GPIO_NOPULL;
  GPIO_InitStruct.Speed = GPIO_SPEED_FREQ_HIGH;
  HAL_GPIO_Init(RDC_CS_GPIO_Port, &GPIO_InitStruct);

  /*Configure GPIO pin : RDC_NRST_Pin */
  GPIO_InitStruct.Pin = RDC_NRST_Pin;
  GPIO_InitStruct.Mode = GPIO_MODE_OUTPUT_PP;
  GPIO_InitStruct.Pull = GPIO_PULLUP;
  GPIO_InitStruct.Speed = GPIO_SPEED_FREQ_LOW;
  HAL_GPIO_Init(RDC_NRST_GPIO_Port, &GPIO_InitStruct);

  /*Configure GPIO pin : GATE_DRIVER_FAULT_Pin */
  GPIO_InitStruct.Pin = GATE_DRIVER_FAULT_Pin;
  GPIO_InitStruct.Mode = GPIO_MODE_INPUT;
  GPIO_InitStruct.Pull = GPIO_PULLDOWN;
  HAL_GPIO_Init(GATE_DRIVER_FAULT_GPIO_Port, &GPIO_InitStruct);

  /*Configure GPIO pins : IABC_CNVST_Pin IABC_OCD_Pin */
  GPIO_InitStruct.Pin = IABC_CNVST_Pin|IABC_OCD_Pin;
  GPIO_InitStruct.Mode = GPIO_MODE_OUTPUT_PP;
  GPIO_InitStruct.Pull = GPIO_NOPULL;
  GPIO_InitStruct.Speed = GPIO_SPEED_FREQ_LOW;
  HAL_GPIO_Init(GPIOG, &GPIO_InitStruct);

  /*Configure GPIO pins : IABC_CS_B_Pin IABC_CS_A_Pin */
  GPIO_InitStruct.Pin = IABC_CS_B_Pin|IABC_CS_A_Pin;
  GPIO_InitStruct.Mode = GPIO_MODE_OUTPUT_OD;
  GPIO_InitStruct.Pull = GPIO_NOPULL;
  GPIO_InitStruct.Speed = GPIO_SPEED_FREQ_LOW;
  HAL_GPIO_Init(GPIOB, &GPIO_InitStruct);

}

void Error_Handler(void)
{
  /* USER CODE BEGIN Error_Handler_Debug */
  /* User can add his own implementation to report the HAL error return state */
	control_disable();
	mc_vars.fault = TRUE;
	mc_vars.mc_enable = FALSE;

	// Change LED to fault (red)
	HAL_GPIO_WritePin(GPIOF, LED_GREEN_Pin, LOW);
	HAL_GPIO_WritePin(GPIOF, LED_BLUE_Pin, LOW);
	HAL_GPIO_WritePin(GPIOF, LED_RED_Pin, HIGH);

  /* USER CODE END Error_Handler_Debug */
}

/************************ (C) COPYRIGHT STMicroelectronics *****END OF FILE****/
